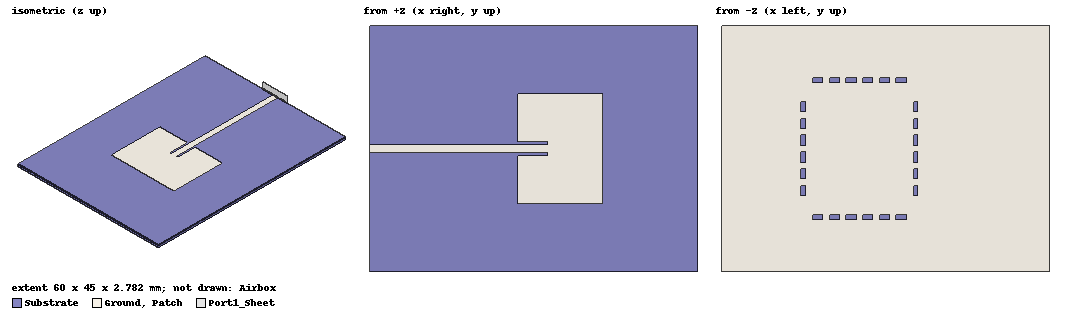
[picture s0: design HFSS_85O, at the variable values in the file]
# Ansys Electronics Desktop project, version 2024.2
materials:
  vacuum: permittivity=1
  RO4350B: permittivity=3.48 permeability=1 dielectric_loss_tangent=0.0037
  pec: conductivity=1e+30
  air: permittivity=1.0006 permeability=1.0000004

design HFSS_85O (HFSS, HFSS Terminal Network, model units mm)
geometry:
  Substrate [RO4350B] = box(corner=(-30mm, -22.5mm, 0mm), size=(60mm, 45mm, 0.762mm))
  Ground [pec] = rectangle(corner=(-30mm, -22.5mm, 0mm), x_size=60mm, y_size=45mm)
  Patch [pec] = rectangle(corner=(-2.99995mm, -10.01535mm, 0.762mm), x_size=15.5383mm, y_size=20.0307mm)
  Feed = rectangle(corner=(-30mm, -0.7991mm, 0.762mm), x_size=32.58775mm, y_size=1.5982mm)
  Patch.unite(Feed)
  TopCut_0_inset_gap_top = rectangle(corner=(-2.99995mm, 0.7991mm, 0.762mm), x_size=5.5877mm, y_size=0.4795mm)
  TopCut_1_inset_gap_bottom = rectangle(corner=(-2.99995mm, -1.2786mm, 0.762mm), x_size=5.5877mm, y_size=0.4795mm)
  Patch.subtract(TopCut_0_inset_gap_top, TopCut_1_inset_gap_bottom)
  GroundCut_0_ebg_0 = rectangle(corner=(-3.8168595mm, -12.939684mm, 0mm), x_size=1.8967956mm, y_size=0.84866782mm)
  GroundCut_1_ebg_1 = rectangle(corner=(-0.76179482mm, -12.939684mm, 0mm), x_size=1.8967956mm, y_size=0.84866782mm)
  GroundCut_2_ebg_2 = rectangle(corner=(2.2932699mm, -12.939684mm, 0mm), x_size=1.8967956mm, y_size=0.84866782mm)
  GroundCut_3_ebg_3 = rectangle(corner=(5.3483345mm, -12.939684mm, 0mm), x_size=1.8967956mm, y_size=0.84866782mm)
  GroundCut_4_ebg_4 = rectangle(corner=(8.4033992mm, -12.939684mm, 0mm), x_size=1.8967956mm, y_size=0.84866782mm)
  GroundCut_5_ebg_5 = rectangle(corner=(11.458464mm, -12.939684mm, 0mm), x_size=1.8967956mm, y_size=0.84866782mm)
  GroundCut_6_ebg_6 = rectangle(corner=(-3.8168595mm, 12.091016mm, 0mm), x_size=1.8967956mm, y_size=0.84866782mm)
  GroundCut_7_ebg_7 = rectangle(corner=(-0.76179482mm, 12.091016mm, 0mm), x_size=1.8967956mm, y_size=0.84866782mm)
  GroundCut_8_ebg_8 = rectangle(corner=(2.2932699mm, 12.091016mm, 0mm), x_size=1.8967956mm, y_size=0.84866782mm)
  GroundCut_9_ebg_9 = rectangle(corner=(5.3483345mm, 12.091016mm, 0mm), x_size=1.8967956mm, y_size=0.84866782mm)
  GroundCut_10_ebg_10 = rectangle(corner=(8.4033992mm, 12.091016mm, 0mm), x_size=1.8967956mm, y_size=0.84866782mm)
  GroundCut_11_ebg_11 = rectangle(corner=(11.458464mm, 12.091016mm, 0mm), x_size=1.8967956mm, y_size=0.84866782mm)
  GroundCut_12_ebg_12 = rectangle(corner=(-5.9242839mm, -8.5860595mm, 0mm), x_size=0.84866782mm, y_size=1.8967956mm)
  GroundCut_13_ebg_13 = rectangle(corner=(-5.9242839mm, -5.5309948mm, 0mm), x_size=0.84866782mm, y_size=1.8967956mm)
  GroundCut_14_ebg_14 = rectangle(corner=(-5.9242839mm, -2.4759301mm, 0mm), x_size=0.84866782mm, y_size=1.8967956mm)
  GroundCut_15_ebg_15 = rectangle(corner=(-5.9242839mm, 0.57913455mm, 0mm), x_size=0.84866782mm, y_size=1.8967956mm)
  GroundCut_16_ebg_16 = rectangle(corner=(-5.9242839mm, 3.6341992mm, 0mm), x_size=0.84866782mm, y_size=1.8967956mm)
  GroundCut_17_ebg_17 = rectangle(corner=(-5.9242839mm, 6.6892639mm, 0mm), x_size=0.84866782mm, y_size=1.8967956mm)
  GroundCut_18_ebg_18 = rectangle(corner=(14.614016mm, -8.5860595mm, 0mm), x_size=0.84866782mm, y_size=1.8967956mm)
  GroundCut_19_ebg_19 = rectangle(corner=(14.614016mm, -5.5309948mm, 0mm), x_size=0.84866782mm, y_size=1.8967956mm)
  GroundCut_20_ebg_20 = rectangle(corner=(14.614016mm, -2.4759301mm, 0mm), x_size=0.84866782mm, y_size=1.8967956mm)
  GroundCut_21_ebg_21 = rectangle(corner=(14.614016mm, 0.57913455mm, 0mm), x_size=0.84866782mm, y_size=1.8967956mm)
  GroundCut_22_ebg_22 = rectangle(corner=(14.614016mm, 3.6341992mm, 0mm), x_size=0.84866782mm, y_size=1.8967956mm)
  GroundCut_23_ebg_23 = rectangle(corner=(14.614016mm, 6.6892639mm, 0mm), x_size=0.84866782mm, y_size=1.8967956mm)
  Ground.subtract(GroundCut_0_ebg_0, GroundCut_1_ebg_1, GroundCut_2_ebg_2, GroundCut_3_ebg_3, GroundCut_4_ebg_4, GroundCut_5_ebg_5, GroundCut_6_ebg_6, GroundCut_7_ebg_7, GroundCut_8_ebg_8, GroundCut_9_ebg_9, GroundCut_10_ebg_10, GroundCut_11_ebg_11, GroundCut_12_ebg_12, GroundCut_13_ebg_13, GroundCut_14_ebg_14, GroundCut_15_ebg_15, GroundCut_16_ebg_16, GroundCut_17_ebg_17, GroundCut_18_ebg_18, GroundCut_19_ebg_19, GroundCut_20_ebg_20, GroundCut_21_ebg_21, GroundCut_22_ebg_22, GroundCut_23_ebg_23)
  Airbox [air] = box(corner=(-30mm, -42.5mm, -20mm), size=(80mm, 85mm, 40.762mm))
  Port1_Sheet = rectangle(corner=(-30mm, -3.9955mm, -0.02mm), y_size=7.991mm, z_size=2.782mm)
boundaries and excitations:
  Copper_PEC: Perfect E Objects=[Ground, Patch]
  Radiation: Radiation Objects=Airbox
  Port1: Wave Port Objects=Port1_Sheet WavePortType=Modal NumModes=1 Modes{Mode1{CharImp=Zpi RenormImp=50ohm}}
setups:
  Setup1: HfssDriven Frequency=5GHz MaxDeltaS=0.02 MaximumPasses=10 MinimumPasses=1 MinimumConvergedPasses=1 PercentRefinement=30 BasisOrder=1 PortAccuracy=2 DrivenSolverType="Direct Solver"
    sweep Sweep_4_6GHz: 4GHz to 6GHz, 101 points; Type=Interpolating SaveRadFields InterpTolerance=0.5 InterpMaxSolns=250 InterpUsePortImped=false PassivityErrorTolerance=0.0001
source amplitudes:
  Port1:1: 1V 0deg
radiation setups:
  InfiniteSphere_EH_Cuts: Infinite Sphere Theta=-180deg..180deg step 1deg Phi=-90deg..90deg step 90deg
